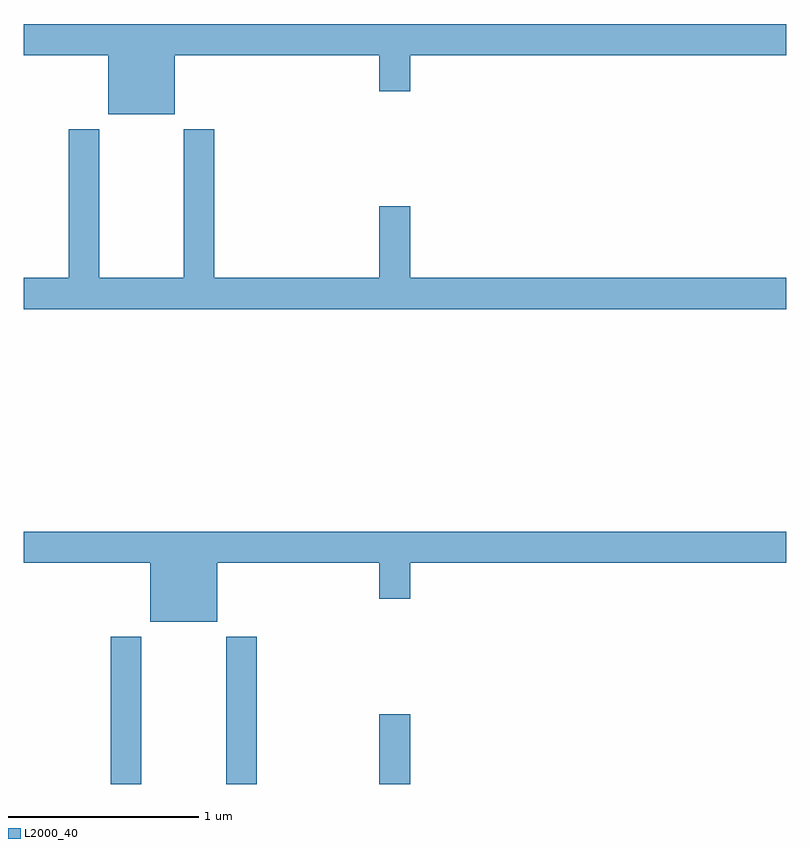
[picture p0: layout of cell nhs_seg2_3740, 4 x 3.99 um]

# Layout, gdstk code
import gdstk
lib = gdstk.Library(unit=1e-6, precision=1e-09)
def R(c, l, rs):  # rectangles x0, y0, x1, y1
    for r in rs: c.add(gdstk.rectangle(r[:2], r[2:], *l))
def P(c, l, *ps):  # polygons
    for p in ps: c.add(gdstk.Polygon(p, *l))
L2000_40 = (2000, 40)

nhs_seg2_3740 = lib.new_cell('nhs_seg2_3740')
R(nhs_seg2_3740, L2000_40, [(307.457,655.8,307.617,656.572), (308.062,655.8,308.222,656.572), (308.864,655.8,309.028,656.167)])
P(nhs_seg2_3740, L2000_40, [(307.792,659.624),(308.864,659.624),(308.864,659.436),(309.028,659.436),(309.028,659.624),(311,659.624),(311,659.788),(307,659.788),(307,659.624),(307.442,659.624),(307.442,659.315),(307.792,659.315)],
  [(311,658.456),(309.028,658.456),(309.028,658.831),(308.864,658.831),(308.864,658.456),(308,658.456),(308,659.236),(307.84,659.236),(307.84,658.456),(307.395,658.456),(307.395,659.236),(307.235,659.236),(307.235,658.456),(307,658.456),(307,658.292),(311,658.292)],
  [(308.014,656.96),(308.864,656.96),(308.864,656.772),(309.028,656.772),(309.028,656.96),(311,656.96),(311,657.124),(307,657.124),(307,656.96),(307.664,656.96),(307.664,656.651),(308.014,656.651)])

lib.write_gds('nhs_seg2_3740.gds')
